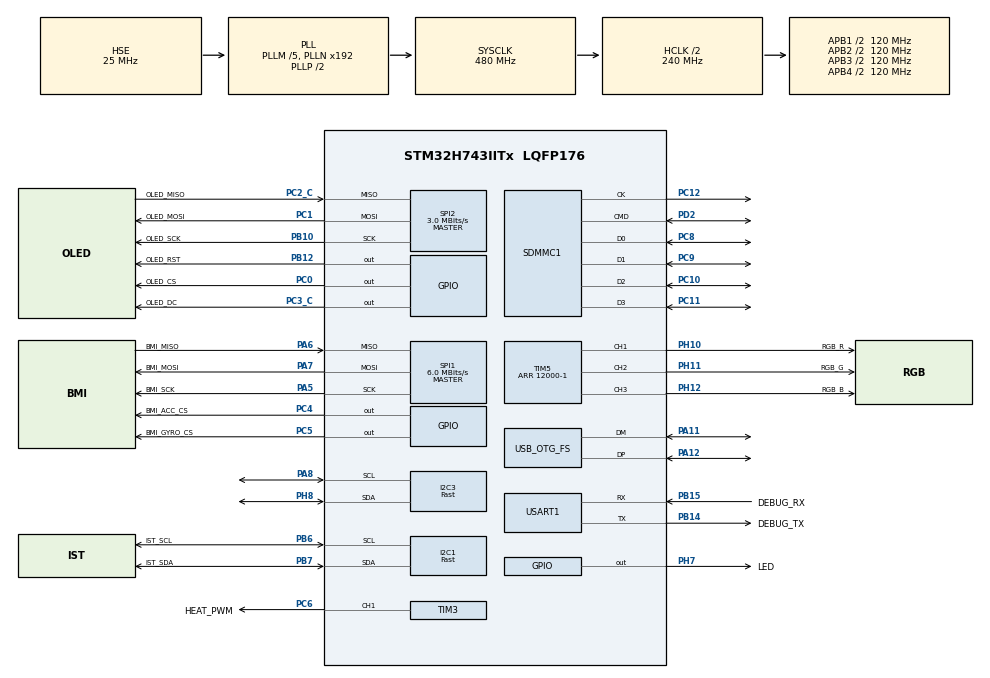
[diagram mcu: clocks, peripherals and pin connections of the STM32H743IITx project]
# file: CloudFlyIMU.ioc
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CORTEX_M7.default_mode_Activation=1
FATFS._CODE_PAGE=936
FATFS._USE_LFN=2
FREERTOS.Mutexes01=I2CMutex,Dynamic,NULL,Available;SPIMutex,Dynamic,NULL,Available
FREERTOS.Tasks01=defaultTask,24,256,StartDefaultTask,Default,NULL,Dynamic,NULL,NULL;SensorTask,40,1024,StartTask02,Default,NULL,Dynamic,NULL,NULL;HeatTask,24,512,StartTask03,Default,NULL,Dynamic,NULL,NULL;FusionTask,40,4096,StartTask04,Default,NULL,Dynamic,NULL,NULL;DebugTask,8,2048,StartTask05,Default,NULL,Dynamic,NULL,NULL
FREERTOS.configENABLE_FPU=1
FREERTOS.configGENERATE_RUN_TIME_STATS=1
FREERTOS.configMINIMAL_STACK_SIZE=256
FREERTOS.configTOTAL_HEAP_SIZE=131072
FREERTOS.configUSE_STATS_FORMATTING_FUNCTIONS=1
I2C1.I2C_Speed_Mode=I2C_Fast
I2C1.Timing=0x00B03FDB
I2C3.I2C_Speed_Mode=I2C_Fast
I2C3.Timing=0x00B03FDB
Mcu.Family=STM32H7
Mcu.Name=STM32H743IITx
Mcu.Package=LQFP176
NVIC.OTG_FS_IRQn=true\:5\:0\:false\:false\:true\:true\:false\:true\:true
NVIC.PriorityGroup=NVIC_PRIORITYGROUP_4
NVIC.SDMMC1_IRQn=true\:5\:0\:false\:false\:true\:true\:true\:true\:true
NVIC.TIM6_DAC_IRQn=true\:15\:0\:false\:false\:true\:false\:false\:true\:true
NVIC.TimeBase=TIM6_DAC_IRQn
NVIC.TimeBaseIP=TIM6
PA11.Mode=Device_Only
PA11.Signal=USB_OTG_FS_DM
PA12.Mode=Device_Only
PA12.Signal=USB_OTG_FS_DP
PA13\ (JTMS/SWDIO).Mode=Serial_Wire
PA13\ (JTMS/SWDIO).Signal=DEBUG_JTMS-SWDIO
PA14\ (JTCK/SWCLK).Mode=Serial_Wire
PA14\ (JTCK/SWCLK).Signal=DEBUG_JTCK-SWCLK
PA5.GPIO_Label=BMI_SCK
PA5.Mode=Full_Duplex_Master
PA5.Signal=SPI1_SCK
PA6.GPIO_Label=BMI_MISO
PA6.Mode=Full_Duplex_Master
PA6.Signal=SPI1_MISO
PA7.GPIO_Label=BMI_MOSI
PA7.Mode=Full_Duplex_Master
PA7.Signal=SPI1_MOSI
PA8.Mode=I2C
PA8.Signal=I2C3_SCL
PB10.GPIO_Label=OLED_SCK
PB10.Mode=Full_Duplex_Master
PB10.Signal=SPI2_SCK
PB12.GPIO_Label=OLED_RST
PB12.PinState=GPIO_PIN_SET
PB12.Signal=GPIO_Output
PB14.GPIO_Label=DEBUG_TX
PB14.Mode=Asynchronous
PB14.Signal=USART1_TX
PB15.GPIO_Label=DEBUG_RX
PB15.Mode=Asynchronous
PB15.Signal=USART1_RX
PB6.GPIO_Label=IST_SCL
PB6.Mode=I2C
PB6.Signal=I2C1_SCL
PB7.GPIO_Label=IST_SDA
PB7.Mode=I2C
PB7.Signal=I2C1_SDA
PC0.GPIO_Label=OLED_CS
PC0.PinState=GPIO_PIN_SET
PC0.Signal=GPIO_Output
PC1.GPIO_Label=OLED_MOSI
PC1.Mode=Full_Duplex_Master
PC1.Signal=SPI2_MOSI
PC10.Mode=SD_4_bits_Wide_bus
PC10.Signal=SDMMC1_D2
PC11.Mode=SD_4_bits_Wide_bus
PC11.Signal=SDMMC1_D3
PC12.Mode=SD_4_bits_Wide_bus
PC12.Signal=SDMMC1_CK
PC2_C.GPIO_Label=OLED_MISO
PC2_C.Mode=Full_Duplex_Master
PC2_C.Signal=SPI2_MISO
PC3_C.GPIO_Label=OLED_DC
PC3_C.Signal=GPIO_Output
PC4.GPIO_Label=BMI_ACC_CS
PC4.GPIO_ModeDefaultOutputPP=GPIO_MODE_OUTPUT_PP
PC4.GPIO_PuPd=GPIO_PULLUP
PC4.GPIO_Speed=GPIO_SPEED_FREQ_VERY_HIGH
PC4.PinState=GPIO_PIN_SET
PC4.Signal=GPIO_Output
PC5.GPIO_Label=BMI_GYRO_CS
PC5.GPIO_ModeDefaultOutputPP=GPIO_MODE_OUTPUT_PP
PC5.GPIO_PuPd=GPIO_PULLUP
PC5.GPIO_Speed=GPIO_SPEED_FREQ_VERY_HIGH
PC5.PinState=GPIO_PIN_SET
PC5.Signal=GPIO_Output
PC6.GPIO_Label=HEAT_PWM
PC6.Signal=S_TIM3_CH1
PC8.Mode=SD_4_bits_Wide_bus
PC8.Signal=SDMMC1_D0
PC9.Mode=SD_4_bits_Wide_bus
PC9.Signal=SDMMC1_D1
PD2.Mode=SD_4_bits_Wide_bus
PD2.Signal=SDMMC1_CMD
PH0-OSC_IN\ (PH0).Mode=HSE-External-Oscillator
PH0-OSC_IN\ (PH0).Signal=RCC_OSC_IN
PH1-OSC_OUT\ (PH1).Mode=HSE-External-Oscillator
PH1-OSC_OUT\ (PH1).Signal=RCC_OSC_OUT
PH10.GPIO_Label=RGB_R
PH10.Signal=S_TIM5_CH1
PH11.GPIO_Label=RGB_G
PH11.Signal=S_TIM5_CH2
PH12.GPIO_Label=RGB_B
PH12.Signal=S_TIM5_CH3
PH7.GPIO_Label=LED
PH7.Signal=GPIO_Output
PH8.Mode=I2C
PH8.Signal=I2C3_SDA
ProjectManager.HeapSize=0x200
ProjectManager.StackSize=0x400
ProjectManager.TargetToolchain=MDK-ARM V5.32
RCC.ADCFreq_Value=50390625
RCC.APB1Freq_Value=120000000
RCC.APB2Freq_Value=120000000
RCC.APB3Freq_Value=120000000
RCC.APB4Freq_Value=120000000
RCC.CKPERSourceSelection=RCC_CLKPSOURCE_HSE
RCC.CortexFreq_Value=480000000
RCC.D1PPRE=RCC_APB3_DIV2
RCC.D2PPRE1=RCC_APB1_DIV2
RCC.D2PPRE2=RCC_APB2_DIV2
RCC.D3PPRE=RCC_APB4_DIV2
RCC.DIVM1=5
RCC.DIVN1=192
RCC.DIVQ1=5
RCC.HCLKFreq_Value=240000000
RCC.HPRE=RCC_HCLK_DIV2
RCC.PLL2FRACN=0
RCC.PLL3FRACN=0
RCC.PLLFRACN=0
RCC.PLLSourceVirtual=RCC_PLLSOURCE_HSE
RCC.SYSCLKFreq_VALUE=480000000
RCC.SYSCLKSource=RCC_SYSCLKSOURCE_PLLCLK
RCC.USBCLockSelection=RCC_USBCLKSOURCE_HSI48
RCC.USBFreq_Value=48000000
SDMMC1.ClockDiv=2
SH.S_TIM3_CH1.0=TIM3_CH1,PWM Generation1 CH1
SH.S_TIM5_CH1.0=TIM5_CH1,PWM Generation1 CH1
SH.S_TIM5_CH2.0=TIM5_CH2,PWM Generation2 CH2
SH.S_TIM5_CH3.0=TIM5_CH3,PWM Generation3 CH3
SPI1.BaudRatePrescaler=SPI_BAUDRATEPRESCALER_32
SPI1.CalculateBaudRate=6.0 MBits/s
SPI1.DataSize=SPI_DATASIZE_8BIT
SPI1.Direction=SPI_DIRECTION_2LINES
SPI1.Mode=SPI_MODE_MASTER
SPI1.VirtualType=VM_MASTER
SPI2.BaudRatePrescaler=SPI_BAUDRATEPRESCALER_64
SPI2.CalculateBaudRate=3.0 MBits/s
SPI2.DataSize=SPI_DATASIZE_8BIT
SPI2.Direction=SPI_DIRECTION_2LINES
SPI2.Mode=SPI_MODE_MASTER
SPI2.VirtualType=VM_MASTER
TIM3.Channel-PWM\ Generation1\ CH1=TIM_CHANNEL_1
TIM3.Period=1000-1
TIM3.Prescaler=1200-1
TIM5.Channel-PWM\ Generation1\ CH1=TIM_CHANNEL_1
TIM5.Channel-PWM\ Generation2\ CH2=TIM_CHANNEL_2
TIM5.Channel-PWM\ Generation3\ CH3=TIM_CHANNEL_3
TIM5.Period=12000-1
USART1.VirtualMode-Asynchronous=VM_ASYNC
USB_DEVICE.CLASS_NAME_FS=CDC
USB_DEVICE.VirtualMode-CDC_FS=Cdc
USB_DEVICE.VirtualModeFS=Cdc_FS
USB_OTG_FS.VirtualMode=Device_Only
VP_FATFS_VS_SDIO.Mode=SDIO
VP_FREERTOS_VS_CMSIS_V2.Mode=CMSIS_V2
VP_MEMORYMAP_VS_MEMORYMAP.Mode=CurAppReg
VP_SYS_VS_tim6.Mode=TIM6
VP_TIM3_VS_ClockSourceINT.Mode=Internal
VP_TIM5_VS_ClockSourceINT.Mode=Internal
VP_USB_DEVICE_VS_USB_DEVICE_CDC_FS.Mode=CDC_FS
board=custom

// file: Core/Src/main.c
/* USER CODE BEGIN Header */
/**
  ******************************************************************************
  * @file           : main.c
  * @brief          : Main program body
  ******************************************************************************
  * @attention
  *
  * Copyright (c) 2026 STMicroelectronics.
  * All rights reserved.
  *
  * This software is licensed under terms that can be found in the LICENSE file
  * in the root directory of this software component.
  * If no LICENSE file comes with this software, it is provided AS-IS.
  *
  ******************************************************************************
  */
/* USER CODE END Header */
#include "main.h"
#include "FreeRTOS.h"
#include "cmsis_os2.h"
#include "fatfs.h"
#include "i2c.h"
#include "sdmmc.h"
#include "spi.h"
#include "tim.h"
#include "usart.h"
#include "usb_device.h"
#include "gpio.h"

/* USER CODE BEGIN Includes */
#include "hardware.h"
/* USER CODE END Includes */

void SystemClock_Config(void);
static void MPU_Config(void);
void MX_FREERTOS_Init(void);

int main(void)
{

  /* MPU Configuration--------------------------------------------------------*/
  MPU_Config();

  /* MCU Configuration--------------------------------------------------------*/

  /* Reset of all peripherals, Initializes the Flash interface and the Systick. */
  HAL_Init();

  /* Configure the system clock */
  SystemClock_Config();

  /* Initialize all configured peripherals */
  MX_GPIO_Init();
  MX_I2C1_Init();
  MX_SPI1_Init();
  MX_TIM3_Init();
  MX_USART1_UART_Init();
  MX_I2C3_Init();
  MX_SDMMC1_SD_Init();
  MX_FATFS_Init();
  MX_SPI2_Init();
  MX_TIM5_Init();
  /* USER CODE BEGIN 2 */
  {
    Driver_Status hw_st = Hardware_Init();
    if (hw_st != DRV_OK) {
      /* Hardware_Init already logged the failing module via Debug_Log_Level.
       * Spin here so a debugger can inspect hw_st before the RTOS starts. */
      Error_Handler();
    }
  }
  /* USER CODE END 2 */

  /* Init scheduler */
  osKernelInitialize();  /* Call init function for freertos objects (in cmsis_os2.c) */
  MX_FREERTOS_Init();

  /* Start scheduler */
  osKernelStart();

  /* We should never get here as control is now taken by the scheduler */

  /* Infinite loop */
  while (1)
  {

  }
}

void SystemClock_Config(void)
{
  RCC_OscInitTypeDef RCC_OscInitStruct = {0};
  RCC_ClkInitTypeDef RCC_ClkInitStruct = {0};

  /** Supply configuration update enable
  */
  HAL_PWREx_ConfigSupply(PWR_LDO_SUPPLY);

  /** Configure the main internal regulator output voltage
  */
  __HAL_PWR_VOLTAGESCALING_CONFIG(PWR_REGULATOR_VOLTAGE_SCALE0);

  while(!__HAL_PWR_GET_FLAG(PWR_FLAG_VOSRDY)) {}

  /** Initializes the RCC Oscillators according to the specified parameters
  * in the RCC_OscInitTypeDef structure.
  */
  RCC_OscInitStruct.OscillatorType = RCC_OSCILLATORTYPE_HSI48|RCC_OSCILLATORTYPE_HSE;
  RCC_OscInitStruct.HSEState = RCC_HSE_ON;
  RCC_OscInitStruct.HSI48State = RCC_HSI48_ON;
  RCC_OscInitStruct.PLL.PLLState = RCC_PLL_ON;
  RCC_OscInitStruct.PLL.PLLSource = RCC_PLLSOURCE_HSE;
  RCC_OscInitStruct.PLL.PLLM = 5;
  RCC_OscInitStruct.PLL.PLLN = 192;
  RCC_OscInitStruct.PLL.PLLP = 2;
  RCC_OscInitStruct.PLL.PLLQ = 5;
  RCC_OscInitStruct.PLL.PLLR = 2;
  RCC_OscInitStruct.PLL.PLLRGE = RCC_PLL1VCIRANGE_2;
  RCC_OscInitStruct.PLL.PLLVCOSEL = RCC_PLL1VCOWIDE;
  RCC_OscInitStruct.PLL.PLLFRACN = 0;
  if (HAL_RCC_OscConfig(&RCC_OscInitStruct) != HAL_OK)
  {
    Error_Handler();
  }

  /** Initializes the CPU, AHB and APB buses clocks
  */
  RCC_ClkInitStruct.ClockType = RCC_CLOCKTYPE_HCLK|RCC_CLOCKTYPE_SYSCLK
                              |RCC_CLOCKTYPE_PCLK1|RCC_CLOCKTYPE_PCLK2
                              |RCC_CLOCKTYPE_D3PCLK1|RCC_CLOCKTYPE_D1PCLK1;
  RCC_ClkInitStruct.SYSCLKSource = RCC_SYSCLKSOURCE_PLLCLK;
  RCC_ClkInitStruct.SYSCLKDivider = RCC_SYSCLK_DIV1;
  RCC_ClkInitStruct.AHBCLKDivider = RCC_HCLK_DIV2;
  RCC_ClkInitStruct.APB3CLKDivider = RCC_APB3_DIV2;
  RCC_ClkInitStruct.APB1CLKDivider = RCC_APB1_DIV2;
  RCC_ClkInitStruct.APB2CLKDivider = RCC_APB2_DIV2;
  RCC_ClkInitStruct.APB4CLKDivider = RCC_APB4_DIV2;

  if (HAL_RCC_ClockConfig(&RCC_ClkInitStruct, FLASH_LATENCY_4) != HAL_OK)
  {
    Error_Handler();
  }
}

 /* MPU Configuration */

void MPU_Config(void)
{
  MPU_Region_InitTypeDef MPU_InitStruct = {0};

  /* Disables the MPU */
  HAL_MPU_Disable();

  /** Initializes and configures the Region and the memory to be protected
  */
  MPU_InitStruct.Enable = MPU_REGION_ENABLE;
  MPU_InitStruct.Number = MPU_REGION_NUMBER0;
  MPU_InitStruct.BaseAddress = 0x0;
  MPU_InitStruct.Size = MPU_REGION_SIZE_4GB;
  MPU_InitStruct.SubRegionDisable = 0x87;
  MPU_InitStruct.TypeExtField = MPU_TEX_LEVEL0;
  MPU_InitStruct.AccessPermission = MPU_REGION_NO_ACCESS;
  MPU_InitStruct.DisableExec = MPU_INSTRUCTION_ACCESS_DISABLE;
  MPU_InitStruct.IsShareable = MPU_ACCESS_SHAREABLE;
  MPU_InitStruct.IsCacheable = MPU_ACCESS_NOT_CACHEABLE;
  MPU_InitStruct.IsBufferable = MPU_ACCESS_NOT_BUFFERABLE;

  HAL_MPU_ConfigRegion(&MPU_InitStruct);
  /* Enables the MPU */
  HAL_MPU_Enable(MPU_PRIVILEGED_DEFAULT);

}

void HAL_TIM_PeriodElapsedCallback(TIM_HandleTypeDef *htim)
{
  if (htim->Instance == TIM6)
  {
    HAL_IncTick();
  }
}

void Error_Handler(void)
{
  __disable_irq();
  while (1)
  {
  }
}

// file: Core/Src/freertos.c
/* USER CODE BEGIN Header */
/**
  ******************************************************************************
  * File Name          : freertos.c
  * Description        : Code for freertos applications
  ******************************************************************************
  * @attention
  *
  * Copyright (c) 2026 STMicroelectronics.
  * All rights reserved.
  *
  * This software is licensed under terms that can be found in the LICENSE file
  * in the root directory of this software component.
  * If no LICENSE file comes with this software, it is provided AS-IS.
  *
  ******************************************************************************
  */
/* USER CODE END Header */

#include "FreeRTOS.h"
#include "task.h"
#include "main.h"
#include "FreeRTOS.h"
#include "cmsis_os2.h"

/* USER CODE BEGIN Includes */
#include "hardware.h"
#include "function.h"
#include <math.h>
/* USER CODE END Includes */

/* USER CODE BEGIN PD */
#define HEAT_TASK_PERIOD_MS            100U
/* USER CODE END PD */

/* USER CODE BEGIN Variables */
osMutexId_t I2C3MutexHandle;
/* USER CODE END Variables */
/* Definitions for defaultTask */
osThreadId_t defaultTaskHandle;
const osThreadAttr_t defaultTask_attributes = {
  .name = "defaultTask",
  .stack_size = 256 * 4,
  .priority = (osPriority_t) osPriorityNormal,
};
/* Definitions for SensorTask */
osThreadId_t SensorTaskHandle;
const osThreadAttr_t SensorTask_attributes = {
  .name = "SensorTask",
  .stack_size = 1024 * 4,
  .priority = (osPriority_t) osPriorityHigh,
};
/* Definitions for HeatTask */
osThreadId_t HeatTaskHandle;
const osThreadAttr_t HeatTask_attributes = {
  .name = "HeatTask",
  .stack_size = 512 * 4,
  .priority = (osPriority_t) osPriorityNormal,
};
/* Definitions for FusionTask */
osThreadId_t FusionTaskHandle;
const osThreadAttr_t FusionTask_attributes = {
  .name = "FusionTask",
  .stack_size = 4096 * 4,
  .priority = (osPriority_t) osPriorityHigh,
};
/* Definitions for DebugTask */
osThreadId_t DebugTaskHandle;
const osThreadAttr_t DebugTask_attributes = {
  .name = "DebugTask",
  .stack_size = 2048 * 4,
  .priority = (osPriority_t) osPriorityLow,
};
/* Definitions for SdLogTask */
osThreadId_t SdLogTaskHandle;
const osThreadAttr_t SdLogTask_attributes = {
  .name = "SdLogTask",
  .stack_size = 1024 * 4,
  .priority = (osPriority_t) osPriorityLow,
};
/* Definitions for I2CMutex */
osMutexId_t I2CMutexHandle;
const osMutexAttr_t I2CMutex_attributes = {
  .name = "I2CMutex"
};
/* Definitions for SPIMutex */
osMutexId_t SPIMutexHandle;
const osMutexAttr_t SPIMutex_attributes = {
  .name = "SPIMutex"
};

void StartDefaultTask(void *argument);
void StartTask02(void *argument);
void StartTask03(void *argument);
void StartTask04(void *argument);
void StartTask05(void *argument);
void StartTask06(void *argument);

extern void MX_USB_DEVICE_Init(void);
void MX_FREERTOS_Init(void); /* (MISRA C 2004 rule 8.1) */

/* Hook prototypes */
void configureTimerForRunTimeStats(void);
unsigned long getRunTimeCounterValue(void);

/* USER CODE BEGIN 1 */
/* Functions needed when configGENERATE_RUN_TIME_STATS is on */
__weak void configureTimerForRunTimeStats(void)
{
    CoreDebug->DEMCR |= CoreDebug_DEMCR_TRCENA_Msk;
    DWT->CYCCNT = 0;
    DWT->CTRL |= DWT_CTRL_CYCCNTENA_Msk;
}

__weak unsigned long getRunTimeCounterValue(void)
{
return DWT->CYCCNT;
}
/* USER CODE END 1 */

void MX_FREERTOS_Init(void) {
  /* Create the mutex(es) */
  /* creation of I2CMutex */
  I2CMutexHandle = osMutexNew(&I2CMutex_attributes);

  /* creation of SPIMutex */
  SPIMutexHandle = osMutexNew(&SPIMutex_attributes);

  /* USER CODE BEGIN RTOS_MUTEX */
  /* add mutexes, ... */
  {
    static const osMutexAttr_t I2C3Mutex_attributes = { .name = "I2C3Mutex" };
    I2C3MutexHandle = osMutexNew(&I2C3Mutex_attributes);
  }
  /* USER CODE END RTOS_MUTEX */

  /* Create the thread(s) */
  /* creation of defaultTask */
  defaultTaskHandle = osThreadNew(StartDefaultTask, NULL, &defaultTask_attributes);

  /* creation of SensorTask */
  SensorTaskHandle = osThreadNew(StartTask02, NULL, &SensorTask_attributes);

  /* creation of HeatTask */
  HeatTaskHandle = osThreadNew(StartTask03, NULL, &HeatTask_attributes);

  /* creation of FusionTask */
  FusionTaskHandle = osThreadNew(StartTask04, NULL, &FusionTask_attributes);

  /* creation of DebugTask */
  DebugTaskHandle = osThreadNew(StartTask05, NULL, &DebugTask_attributes);

  /* creation of SdLogTask */
  SdLogTaskHandle = osThreadNew(StartTask06, NULL, &SdLogTask_attributes);

}

void StartDefaultTask(void *argument)
{
  /* init code for USB_DEVICE */
  MX_USB_DEVICE_Init();
  /* USER CODE BEGIN StartDefaultTask */

  /* Infinite loop */
  for(;;)
  {
    LED_Toggle();
    osDelay(1000);
  }
  /* USER CODE END StartDefaultTask */
}

void StartTask02(void *argument)
{
  /* USER CODE BEGIN StartTask02 */
  Task_Sensor();
  /* USER CODE END StartTask02 */
}

void StartTask03(void *argument)
{
  /* USER CODE BEGIN StartTask03 */
  Task_Heat();
  /* USER CODE END StartTask03 */
}

void StartTask04(void *argument)
{
  /* USER CODE BEGIN StartTask04 */
  Task_EKFFusion();
  /* USER CODE END StartTask04 */
}

void StartTask05(void *argument)
{
  /* USER CODE BEGIN StartTask05 */
  Task_Debug();
  /* USER CODE END StartTask05 */
}

void StartTask06(void *argument)
{
  /* USER CODE BEGIN StartTask06 */
  Task_SdLog();
  /* USER CODE END StartTask06 */
}
